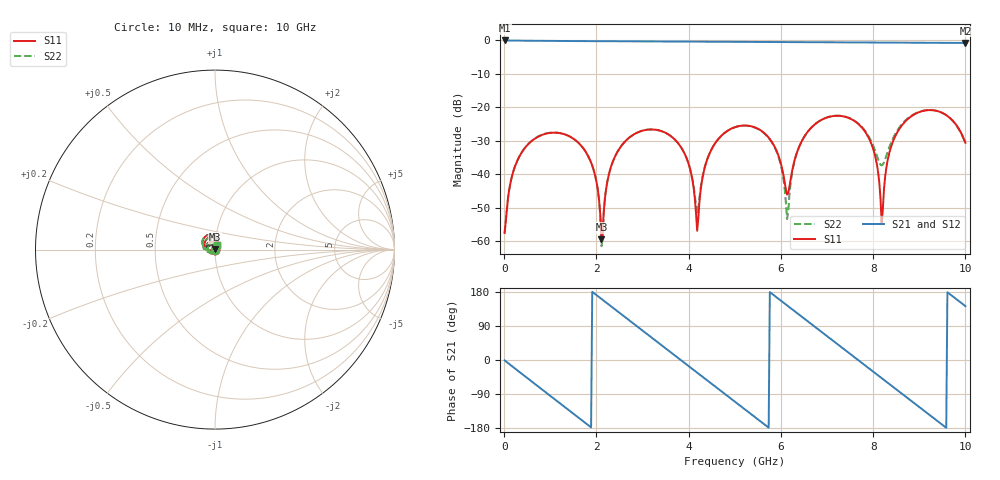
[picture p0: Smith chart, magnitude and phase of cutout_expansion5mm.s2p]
! Cutout equivalence validation - 38 mm 50 ohm symmetric stripline
! Case: Cutout, 5 mm expansion, stitching vias kept
! Solver: Ansys HFSS 3D Layout 2026 R1, broadband adaptive 1-5 GHz,
!  Delta S 0.02, interpolating sweep 10 MHz - 10 GHz
# GHz S MA R 50.000000
! Terminal data exported
! Port[1] = U1.PAD1.SIG
! Port[2] = U2.PAD1.SIG
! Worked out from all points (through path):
!   401 points, 10 MHz to 10 GHz, reference 50 ohm
!   highest |S21| = -0.01 dB at 10 MHz (marker M1); lowest = -0.7 dB at 10 GHz (marker M2)
!   group delay of S21, straight-line fit = 260 ps
!   lowest |S11| = -59.4 dB at 2.11 GHz (marker M3), VSWR 1.00, Z = 49.9 + j0.0911 ohm
!   |S11| at or under -10 dB: start of sweep to end of sweep
!   |S22| runs from -61.5 to -20.8 dB; largest |S21 - S12| = 5e-14
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0.01  0.001329 -13.1  0.9986 -1.0  0.9986 -1.0  0.00133 -13.1
0.21  0.01167 -92.5  0.9941 -20.1  0.9941 -20.1  0.01173 -91.5
0.535  0.0288 -133.2  0.989 -50.8  0.989 -50.8  0.02898 -130.9
1.085  0.04186 169.9  0.9822 -102.6  0.9822 -102.6  0.04211 174.4
1.685  0.02601 111.6  0.9769 -159.0  0.9769 -159.0  0.02613 117.8
1.96  0.01035 87.7  0.9748 175.2  0.9748 175.2  0.01038 93.8
2.11  0.001074 121.8  0.9735 161.1  0.9735 161.1  0.0008439 115.1
2.485  0.02336 -149.6  0.9701 125.9  0.9701 125.9  0.02338 -139.3
3.36  0.04521 129.2  0.9623 43.9  0.9623 43.9  0.0452 141.3
3.91  0.02046 80.0  0.9589 -7.6  0.9589 -7.6  0.02052 95.0
4.185  0.001434 131.7  0.9571 -33.4  0.9571 -33.4  0.002633 148.2
4.46  0.02097 -159.0  0.9548 -59.2  0.9548 -59.2  0.02105 -149.9
5.01  0.05076 152.8  0.9499 -110.7  0.9499 -110.7  0.05059 164.2
5.785  0.03188 86.4  0.9452 176.8  0.9452 176.8  0.03139 96.2
6.135  0.004968 127.1  0.9433 143.9  0.9433 143.9  0.002147 136.8
6.685  0.05182 169.2  0.9382 92.4  0.9382 92.4  0.05185 -171.6
7.56  0.06475 90.9  0.9317 10.6  0.9317 10.6  0.06538 114.3
7.985  0.02573 49.5  0.9304 -29.2  0.9304 -29.2  0.02836 92.9
8.185  0.001801 -31.5  0.9293 -48.0  0.9293 -48.0  0.01359 136.4
8.335  0.01886 -154.0  0.9282 -62.0  0.9282 -62.0  0.02378 177.9
9.11  0.08933 132.2  0.9197 -134.6  0.9197 -134.6  0.08999 136.4
10  0.02957 65.0  0.9174 142.2  0.9174 142.2  0.02852 69.2
